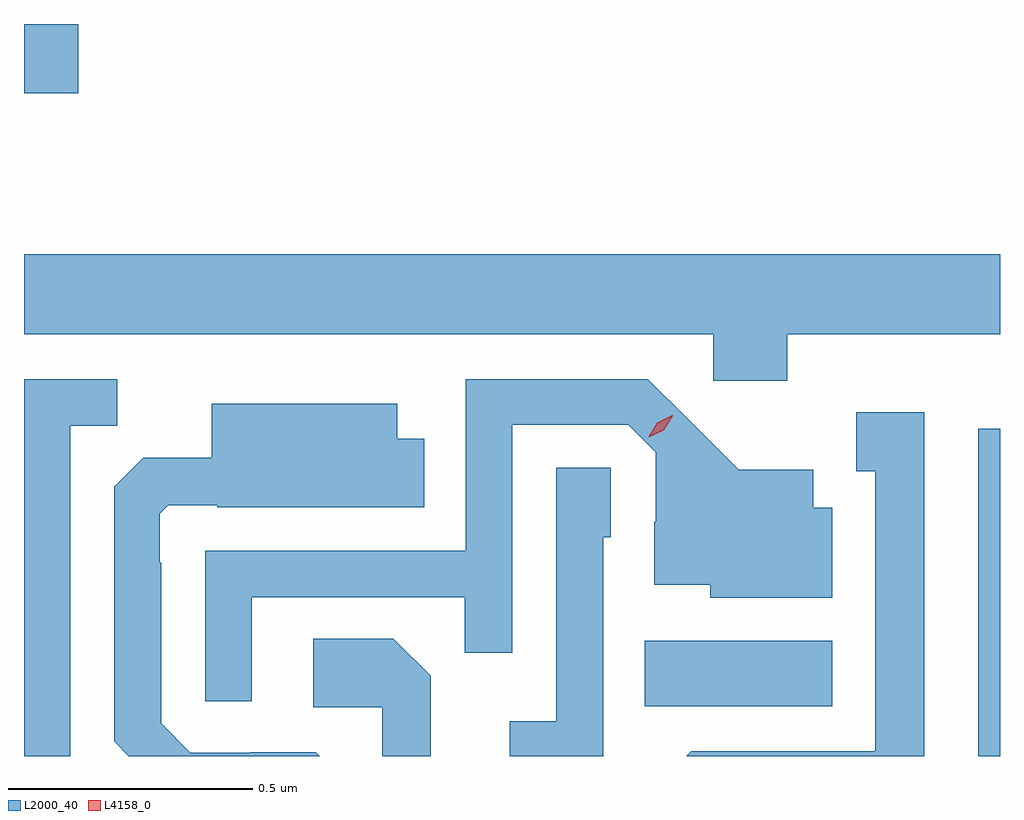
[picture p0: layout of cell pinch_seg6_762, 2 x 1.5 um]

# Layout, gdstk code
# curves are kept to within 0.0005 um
import gdstk
lib = gdstk.Library(unit=1e-6, precision=1e-09)
def R(c, l, rs):  # rectangles x0, y0, x1, y1
    for r in rs: c.add(gdstk.rectangle(r[:2], r[2:], *l))
def P(c, l, *ps):  # polygons
    for p in ps: c.add(gdstk.Polygon(p, *l))
L2000_40 = (2000, 40)
L4158_0 = (4158, 0)

pinch_seg6_762 = lib.new_cell('pinch_seg6_762')
R(pinch_seg6_762, L2000_40, [(619.569,937.148,619.614,937.819), (618.886,937.25,619.27,937.384), (617.614,938.506,617.725,938.648)])
P(pinch_seg6_762, L2000_40, [(619.178,938.012),(619.614,938.012),(619.614,938.176),(617.614,938.176),(617.614,938.012),(619.026,938.012),(619.026,937.917),(619.178,937.917)],
  [(618.081,937.473),(618.517,937.473),(618.517,937.36),(618.615,937.36),(618.615,937.827),(618.852,937.827),(618.909,937.77),(618.909,937.628),(618.905,937.628),(618.905,937.499),(619.02,937.499),(619.02,937.472),(619.27,937.472),(619.27,937.657),(619.231,937.657),(619.231,937.735),(619.079,937.735),(618.892,937.92),(618.519,937.92),(618.519,937.569),(617.985,937.569),(617.985,937.26),(618.081,937.26)],
  [(617.709,937.825),(617.805,937.825),(617.805,937.92),(617.614,937.92),(617.614,937.148),(617.709,937.148)],
  [(618.212,937.156),(618.078,937.156),(618.078,937.155),(617.955,937.155),(617.895,937.215),(617.895,937.544),(617.892,937.544),(617.892,937.644),(617.91,937.662),(618.01,937.662),(618.01,937.658),(618.434,937.658),(618.434,937.798),(618.379,937.798),(618.379,937.87),(617.999,937.87),(617.999,937.759),(617.858,937.759),(617.799,937.7),(617.799,937.178),(617.829,937.148),(618.22,937.148)],
  [(619.459,937.852),(619.319,937.852),(619.319,937.731),(619.358,937.731),(619.358,937.158),(618.981,937.158),(618.971,937.148),(619.459,937.148)],
  [(618.801,937.596),(618.816,937.596),(618.816,937.739),(618.705,937.739),(618.705,937.219),(618.609,937.219),(618.609,937.148),(618.801,937.148)],
  [(618.447,937.312),(618.371,937.388),(618.207,937.388),(618.207,937.248),(618.348,937.248),(618.348,937.148),(618.447,937.148)])
P(pinch_seg6_762, L4158_0, [(618.894,937.801),(618.894,937.802),(618.912,937.831),(618.942,937.846),(618.943,937.846),(618.943,937.845),(618.925,937.816),(618.894,937.801)])

lib.write_gds('pinch_seg6_762.gds')
